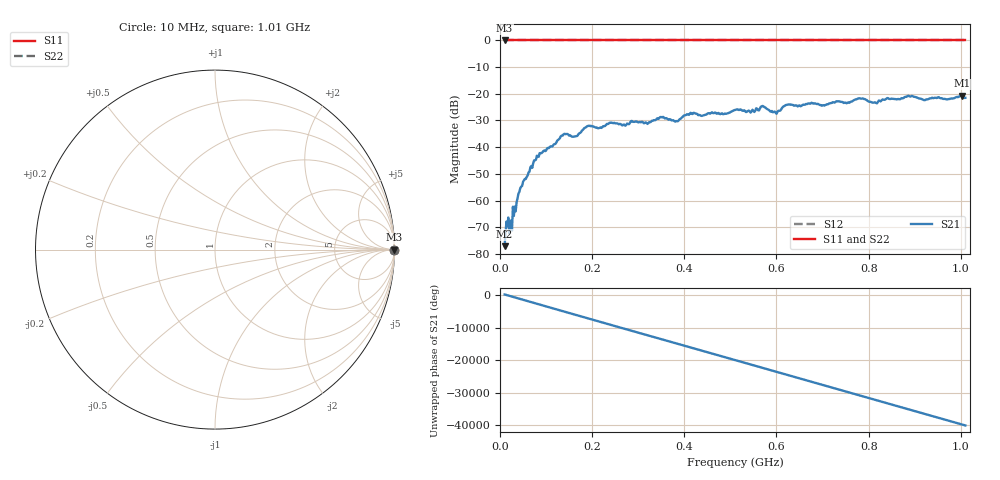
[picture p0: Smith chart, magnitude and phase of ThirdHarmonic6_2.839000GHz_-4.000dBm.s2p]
! 8/17/2025 7:36:50 AM
! C:\ANRITSUVNA\TEMP\TEMP.S2P
! CHANNEL.1
! TR.MEASUREMENT
! RAW.DATA
! RF.CORRECTION.OFF
! AVERAGING.OFF
! IF.BANDWIDTH: 5KHZ
! SWEEPTYPE:  FREQ.SWEEP(Linear)
! Reference Plane Port Info
! PORT:  PORT1  PORT2
! DISTANCE:  0  m  0  m
! TIME:  0  s  0  s
! PHASE.OFFSET:  0  deg.  0  deg.
! LOSS:  0  dB  0  dB
! REF.LOSS:  0  dB  0  dB
! REF.FREQ:  0  Hz  0  Hz
! Power Info
! POWER:  -20  dBm  -20  dBm
! EFF.POWER:  -20  dBm  -20  dBm
! SOURCE.ATTEN:  0  dB  0  dB
! TEST.ATTEN:  0  dB  0  dB
# GHZ S RI R 50.0
! FREQ.GHZ  S11RE  S11IM  S21RE  S21IM  S12RE  S12IM  S22RE  S22IM
!; PortSelection: Port_12
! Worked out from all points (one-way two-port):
!   501 points, 10 MHz to 1.01 GHz, reference 50 ohm
!   highest |S21| = -20.72 dB at 1.002 GHz (marker M1); lowest = -77.1 dB at 10 MHz (marker M2)
!   lowest |S11| = 0.0 dB at 10 MHz (marker M3)
!   |S11| at or under -10 dB: nowhere
!   |S22| runs from 0.0 to 0.0 dB; largest |S21 - S12| = 1.1
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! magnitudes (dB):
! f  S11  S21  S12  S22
! 10 MHz  0.0  -77.1  0.0  0.0
! 16 MHz  0.0  -69.6  0.0  0.0
! 24 MHz  0.0  -67.5  0.0  0.0
! 46 MHz  0.0  -54.8  0.0  0.0
! 78 MHz  0.0  -44.7  0.0  0.0
! 136 MHz  0.0  -35.7  0.0  0.0
! 164 MHz  0.0  -36.0  0.0  0.0
! 178 MHz  0.0  -33.7  0.0  0.0
! 194 MHz  0.0  -32.0  0.0  0.0
! 322 MHz  0.0  -31.0  0.0  0.0
! 344 MHz  0.0  -29.4  0.0  0.0
! 382 MHz  0.0  -30.2  0.0  0.0
! 416 MHz  0.0  -27.5  0.0  0.0
! 510 MHz  0.0  -26.0  0.0  0.0
! 548 MHz  0.0  -26.0  0.0  0.0
! 570 MHz  0.0  -24.5  0.0  0.0
! 598 MHz  0.0  -27.0  0.0  0.0
! 624 MHz  0.0  -24.1  0.0  0.0
! 678 MHz  0.0  -23.5  0.0  0.0
! 844 MHz  0.0  -21.9  0.0  0.0
! 1.002 GHz  0.0  -20.7  0.0  0.0
! 1.01 GHz  0.0  -21.5  0.0  0.0
